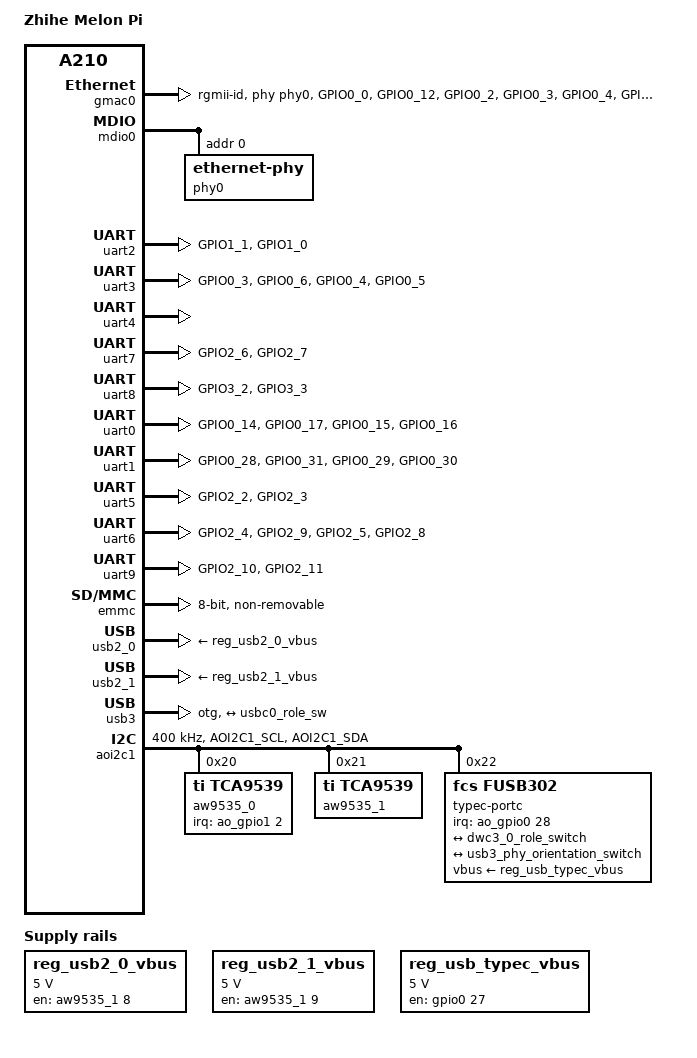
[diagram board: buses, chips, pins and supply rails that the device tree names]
// SPDX-License-Identifier: (GPL-2.0-only OR BSD-2-Clause)
/dts-v1/;

#include <dt-bindings/gpio/gpio.h>
#include <dt-bindings/usb/pd.h>

#include "a210.dtsi"

/ {
	model = "Zhihe Melon Pi";
	compatible = "zhihe,melon-pi", "zhihe,a210";

	aliases {
		ethernet0 = &gmac0;
		mmc0 = &emmc;
		serial0 = &uart0;
		serial1 = &uart1;
		serial2 = &uart2;
		serial3 = &uart3;
		serial4 = &uart4;
		serial5 = &uart5;
		serial6 = &uart6;
		serial7 = &uart7;
		serial8 = &uart8;
		serial9 = &uart9;
	};

	reg_usb2_0_vbus: regulator-usb2-0-vbus {
		compatible = "regulator-fixed";
		regulator-name = "usb2_0_vbus";
		regulator-min-microvolt = <5000000>;
		regulator-max-microvolt = <5000000>;
		gpio = <&aw9535_1 8 GPIO_ACTIVE_HIGH>;
		enable-active-high;
	};

	reg_usb2_1_vbus: regulator-usb2-1-vbus {
		compatible = "regulator-fixed";
		regulator-name = "usb2_1_vbus";
		regulator-min-microvolt = <5000000>;
		regulator-max-microvolt = <5000000>;
		gpio = <&aw9535_1 9 GPIO_ACTIVE_HIGH>;
		enable-active-high;
	};

	reg_usb_typec_vbus: regulator-typec-vbus {
		compatible = "regulator-fixed";
		regulator-name = "usb_typec_vbus";
		regulator-min-microvolt = <5000000>;
		regulator-max-microvolt = <5000000>;
		gpio = <&gpio0 27 GPIO_ACTIVE_HIGH>;
		enable-active-high;
	};
};

&gmac0 {
	phy-mode = "rgmii-id";
	status = "okay";
	pinctrl-names = "default";
	pinctrl-0 = <&gmac0_pins>;
	rx-clk-delay = <0x00>;
	tx-clk-delay = <0x00>;
	phy-handle = <&phy0>;
};

&mdio0 {
	phy0: ethernet-phy@0 {
		reg = <0x0>;
	};
};

&peri1_padctrl {
	gmac0_pins: gmac0-0 {
		txclk-pins {
			pins = "GPIO0_0", /* GMAC0_TX_CLK */
			       "GPIO0_12"; /* GMAC0_MDC */
			function = "gmac0";
			bias-disable;
			drive-strength = <13>;
			input-disable;
			input-schmitt-disable;
			slew-rate = <0>;
		};

		tx-pins {
			pins = "GPIO0_2", /* GMAC0_TXEN */
			       "GPIO0_3", /* GMAC0_TXD0 */
			       "GPIO0_4", /* GMAC0_TXD1 */
			       "GPIO0_5", /* GMAC0_TXD2 */
			       "GPIO0_6"; /* GMAC0_TXD3 */
			function = "gmac0";
			bias-disable;
			drive-strength = <20>;
			input-disable;
			input-schmitt-disable;
			slew-rate = <0>;
		};

		rx-pins {
			pins = "GPIO0_1",  /* GMAC0_RX_CLK */
			       "GPIO0_7",  /* GMAC0_RXDV */
			       "GPIO0_8",  /* GMAC0_RXD0 */
			       "GPIO0_9",  /* GMAC0_RXD1 */
			       "GPIO0_10", /* GMAC0_RXD2 */
			       "GPIO0_11", /* GMAC0_RXD3 */
			       "GPIO0_13"; /* GMAC0_MDIO */
			function = "gmac0";
			bias-disable;
			drive-strength = <13>;
			input-enable;
			input-schmitt-disable;
			slew-rate = <0>;
		};
	};
	uart3_pins: uart3-0 {
		tx-pins {
			pins = "GPIO0_3", "GPIO0_6"; /* TXD, RTSN */
			function = "uart3";
			bias-disable;
			drive-strength = <3>;
			input-disable;
			input-schmitt-disable;
			slew-rate = <0>;
		};

		rx-pins {
			pins = "GPIO0_4", "GPIO0_5"; /* RXD, CTSN */
			function = "uart3";
			bias-disable;
			drive-strength = <1>;
			input-enable;
			input-schmitt-enable;
			slew-rate = <0>;
		};
	};
	uart0_pins: uart0-0 {
		tx-pins {
			pins = "GPIO0_14", "GPIO0_17"; /* TXD, RTSN */
			function = "uart0";
			bias-disable;
			drive-strength = <3>;
			input-disable;
			input-schmitt-disable;
			slew-rate = <0>;
		};

		rx-pins {
			pins = "GPIO0_15", "GPIO0_16"; /* RXD, CTSN */
			function = "uart0";
			bias-disable;
			drive-strength = <1>;
			input-enable;
			input-schmitt-enable;
			slew-rate = <0>;
		};
	};
	uart1_pins: uart1-1 {
		tx-pins {
			pins = "GPIO0_28", "GPIO0_31"; /* TXD, RTSN */
			function = "uart1";
			bias-disable;
			drive-strength = <3>;
			input-disable;
			input-schmitt-disable;
			slew-rate = <0>;
		};

		rx-pins {
			pins = "GPIO0_29", "GPIO0_30"; /* RXD, CTSN */
			function = "uart1";
			bias-disable;
			drive-strength = <1>;
			input-enable;
			input-schmitt-enable;
			slew-rate = <0>;
		};
	};
	uart2_pins: uart2-0 {
		tx-pins {
			pins = "GPIO1_1";
			function = "uart2";
			bias-disable;
			drive-strength = <3>;
			input-disable;
			input-schmitt-disable;
			slew-rate = <0>;
		};

		rx-pins {
			pins = "GPIO1_0";
			function = "uart2";
			bias-disable;
			drive-strength = <1>;
			input-enable;
			input-schmitt-enable;
			slew-rate = <0>;
		};
	};
};

&peri2_padctrl {
	uart4_pins: uart4-0 {
		tx-pins {
			pins = "GPIO2_0";
			function = "uart4";
			bias-disable;
			drive-strength = <3>;
			input-disable;
			input-schmitt-disable;
			slew-rate = <0>;
		};

		rx-pins {
			pins = "GPIO2_1";
			function = "uart4";
			bias-disable;
			drive-strength = <1>;
			input-enable;
			input-schmitt-enable;
			slew-rate = <0>;
		};
	};
	uart5_pins: uart5-0 {
		tx-pins {
			pins = "GPIO2_2";
			function = "uart5";
			bias-disable;
			drive-strength = <3>;
			input-disable;
			input-schmitt-disable;
			slew-rate = <0>;
		};

		rx-pins {
			pins = "GPIO2_3";
			function = "uart5";
			bias-disable;
			drive-strength = <1>;
			input-enable;
			input-schmitt-enable;
			slew-rate = <0>;
		};
	};
	uart6_pins: uart6-0 {
		tx-pins {
			pins = "GPIO2_4", "GPIO2_9"; /* TXD, RTSN */
			function = "uart6";
			bias-disable;
			drive-strength = <3>;
			input-disable;
			input-schmitt-disable;
			slew-rate = <0>;
		};

		rx-pins {
			pins = "GPIO2_5", "GPIO2_8"; /* RXD, CTSN */
			function = "uart6";
			bias-disable;
			drive-strength = <1>;
			input-enable;
			input-schmitt-enable;
			slew-rate = <0>;
		};
	};
	uart7_pins: uart7-0 {
		tx-pins {
			pins = "GPIO2_6";
			function = "uart7";
			bias-disable;
			drive-strength = <3>;
			input-disable;
			input-schmitt-disable;
			slew-rate = <0>;
		};

		rx-pins {
			pins = "GPIO2_7";
			function = "uart7";
			bias-disable;
			drive-strength = <1>;
			input-enable;
			input-schmitt-enable;
			slew-rate = <0>;
		};
	};
	uart9_pins: uart9-0 {
		tx-pins {
			pins = "GPIO2_10";
			function = "uart9";
			bias-disable;
			drive-strength = <3>;
			input-disable;
			input-schmitt-disable;
			slew-rate = <0>;
		};

		rx-pins {
			pins = "GPIO2_11";
			function = "uart9";
			bias-disable;
			drive-strength = <1>;
			input-enable;
			input-schmitt-enable;
			slew-rate = <0>;
		};
	};
	sen_vclk_pin0: sen-vclk-0 {
		sen-vclk0-pins {
			pins = "GPIO3_0";
			function = "sen_vclk";
			bias-disable;
			drive-strength = <7>;
			input-enable;
			input-schmitt-enable;
			slew-rate = <0>;
		};
	};
	sen_vclk_pin1: sen-vclk-1 {
		sen-vclk1-pins {
			pins = "GPIO3_1";
			function = "sen_vclk";
			bias-disable;
			drive-strength = <7>;
			input-enable;
			input-schmitt-enable;
			slew-rate = <0>;
		};
	};
	uart8_pins: uart8-1 {
		tx-pins {
			pins = "GPIO3_2";
			function = "uart8";
			bias-disable;
			drive-strength = <3>;
			input-disable;
			input-schmitt-disable;
			slew-rate = <0>;
		};

		rx-pins {
			pins = "GPIO3_3";
			function = "uart8";
			bias-disable;
			drive-strength = <1>;
			input-enable;
			input-schmitt-enable;
			slew-rate = <0>;
		};
	};
};

&uart2 {
	pinctrl-names = "default";
	pinctrl-0 = <&uart2_pins>;
};

&uart3 {
	pinctrl-names = "default";
	pinctrl-0 = <&uart3_pins>;
};

&uart4 {
	status = "okay";
	/*
	 * Keep the console UART independent of the optional A210 pinctrl
	 * driver.  The boot firmware has already configured these pins.
	 */
};

&uart7 {
	pinctrl-names = "default";
	pinctrl-0 = <&uart7_pins>;
};

&uart8 {
	status = "okay";
	pinctrl-names = "default";
	pinctrl-0 = <&uart8_pins>;
};

&uart0 {
	pinctrl-names = "default";
	pinctrl-0 = <&uart0_pins>;
};

&uart1 {
	pinctrl-names = "default";
	pinctrl-0 = <&uart1_pins>;
};

&uart5 {
	status = "okay";
	pinctrl-names = "default";
	pinctrl-0 = <&uart5_pins>;
};

&uart6 {
	pinctrl-names = "default";
	pinctrl-0 = <&uart6_pins>;
};

&uart9 {
	pinctrl-names = "default";
	pinctrl-0 = <&uart9_pins>;
};

&emmc {
	max-frequency = <196608000>;
	non-removable;
	mmc-hs400-enhanced-strobe;
	mmc-hs400-1_8v;
	mmc-hs200-1_8v;
	no-sdio;
	no-sd;
	bus-width = <8>;
	cap-mmc-highspeed;
};

&usb2_0 {
	vbus-supply = <&reg_usb2_0_vbus>;
};

&usb2_1 {
	vbus-supply = <&reg_usb2_1_vbus>;
};

&cluster0_opp {
	opp0-500000000 {
		opp-microvolt = <1000000>;
	};
	opp0-1200000000 {
		opp-microvolt = <1000000>;
	};
	opp0-1500000000 {
		opp-microvolt = <1000000>;
	};
	opp0-1698000000 {
		opp-microvolt = <1000000>;
	};
	opp0-1896000000 {
		opp-microvolt = <1000000>;
	};
};

&cluster1_opp {
	opp1-500000000 {
		opp-microvolt = <1000000>;
	};
	opp1-1698000000 {
		opp-microvolt = <1000000>;
	};
	opp1-1896000000 {
		opp-microvolt = <1000000>;
	};
	opp1-2298000000 {
		opp-microvolt = <1000000>;
	};
};

&aon_gpio0 {
	status = "okay";
};

&aon_gpio1 {
	status = "okay";
};

&peri1_gpio0 {
	status = "okay";
};

&peri1_gpio1 {
	status = "okay";
};

&peri2_gpio2 {
	status = "okay";
};

&peri2_gpio3 {
	status = "okay";
};

&peri3_gpio {
	status = "okay";
};

&usb3 {
	dr_mode = "otg";
	usb-role-switch;

	port {
		dwc3_0_role_switch: endpoint {
			remote-endpoint = <&usbc0_role_sw>;
		};
	};
};

&aon_padctrl {
	aoi2c1_pins: aoi2c1-0 {
		i2c-pins {
			pins = "AOI2C1_SCL", "AOI2C1_SDA";
			function = "aoi2c1";
			bias-disable;
			drive-strength = <25>;
			input-enable;
			input-schmitt-enable;
			slew-rate = <1>;
		};
	};

	usbc0_int: usbc0-int-0 {
		usbcc-int-pins {
			pins = "AOGPIO0_28";
			function = "aogpio0";
			bias-pull-up;
			drive-strength = <13>;
			input-enable;
			input-schmitt-enable;
			slew-rate = <0>;
		};
	};
};

&aoi2c1 {
	pinctrl-names = "default";
	pinctrl-0 = <&aoi2c1_pins>;
	clock-frequency = <400000>;
	status = "okay";

	aw9535_0: gpio@20 {
		compatible = "ti,tca9539";
		reg = <0x20>;
		gpio-controller;
		#gpio-cells = <2>;
		interrupt-parent = <&ao_gpio1>;
		interrupts = <2 IRQ_TYPE_LEVEL_LOW>;
		gpio-line-names =
			"CSI1_PWDN_IO0",
			"CSI1_RST_IO1",
			"CSI1_FSIN_IO2",
			"CSI0_PWDN_IO3",
			"CSI0_RST_IO4",
			"CSI0_FSIN_IO5",
			"MINPCIE_1V5POWER_EN_I06",
			"MINPCIE_3V3_PWREN_I07",
			"NULL_I08",
			"M2_SATA_EN_IO9",
			"AUDIO_ADC0_INT_IO10",
			"HP_CTL_H_IO11",
			"PI6C557_EN_IO12",
			"DISP_RST_IO13",
			"M2_SATA_3V3_PWREN_IO14",
			"MINPCIE_PERST_IO15";
	};

	aw9535_1: gpio@21 {
		compatible = "ti,tca9539";
		reg = <0x21>;
		gpio-controller;
		#gpio-cells = <2>;
		gpio-line-names =
			"PCIE_ETH_PERSTB_IO0",
			"AUDIO_3V3_PWREN_IO1",
			"AUDIO_1V8_PWREN_IO2",
			"MIPI_CSI0_PWREN_IO3",
			"MIPI_CSI1_PWREN_IO4",
			"MIPI_TP_PWREN_IO5",
			"PCIE_ETH_3V3_PWREN_IO6",
			"NULL_IO7",
			"USBCON_PWREN_IO8",
			"USBCON1_PWREN_IO9",
			"NULL_IO10",
			"SDIO_3V3_PWREN_IO11",
			"SDIO_1V8_PWREN_IO12",
			"PI6C557_PWREN_IO13",
			"MIPI_DSI_PWREN_IO14",
			"BL_EN_IO15";
	};

	typec-portc@22 {
		compatible = "fcs,fusb302";
		reg = <0x22>;
		interrupt-parent = <&ao_gpio0>;
		interrupts = <28 IRQ_TYPE_LEVEL_LOW>;
		pinctrl-names = "default";
		pinctrl-0 = <&usbc0_int>;
		vbus-supply = <&reg_usb_typec_vbus>;
		status = "okay";

		connector {
			compatible = "usb-c-connector";
			label = "USB-C";
			data-role = "dual";
			power-role = "dual";
			try-power-role = "sink";
			sink-pdos = <PDO_FIXED(5000, 1000, PDO_FIXED_USB_COMM)>;
			source-pdos = <PDO_FIXED(5000, 3000, PDO_FIXED_USB_COMM)>;
			op-sink-microwatt = <1000000>;

			ports {
				#address-cells = <1>;
				#size-cells = <0>;

				port@0 {
					reg = <0>;

					usbc0_role_sw: endpoint {
						remote-endpoint = <&dwc3_0_role_switch>;
					};
				};

				port@1 {
					reg = <1>;

					usbc0_orien_sw: endpoint {
						remote-endpoint = <&usb3_phy_orientation_switch>;
					};
				};
			};
		};
	};
};

&usb3_phy_dwc3 {
	orientation-switch;
	mode-switch;
	svid = <0xff01>;

	port {
		usb3_phy_orientation_switch: endpoint {
			remote-endpoint = <&usbc0_orien_sw>;
		};
	};
};
